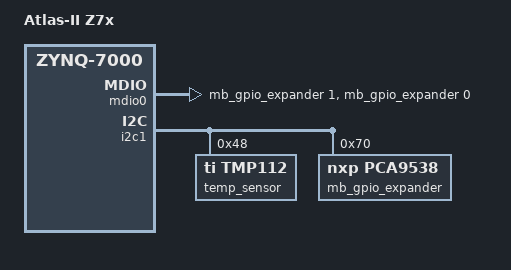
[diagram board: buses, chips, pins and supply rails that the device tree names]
#include <atlas-z7-inc.dtsi>
#include <dt-bindings/gpio/gpio.h>

/ {
    model = "Atlas-II Z7x";
    compatible = "iveia,atlas-ii-z7x", "iveia,atlas-z7", "xlnx,zynq-7000";

    aliases {
        mdio-gpio0 = &mdio0;
    };

    mdio0: ethernet-phy {
        compatible = "virtual,mdio-gpio";
        gpios = <&mb_gpio_expander 1 GPIO_ACTIVE_HIGH>, /* MDC */
            <&mb_gpio_expander 0 GPIO_ACTIVE_HIGH>; /* MDIO */
        #address-cells = <1>;
        #size-cells = <0>;
    };
};

&gem0 {
    status = "disabled";
};

&gem1 {
    status = "disabled";
};

&i2c1 {
    status = "okay";

	temp_sensor: temp_sensor@48 {
		compatible = "ti,tmp112";
        reg = <0x48>;
        // temp_alert routed through pl, thus not enabled here                  
    };

    mb_gpio_expander: gpio_expander@70 {
        compatible = "nxp,pca9538";
        reg = <0x70>;
        gpio-controller;
        #gpio-cells = <2>;
    };
};

&iv_ipmi_mb {
    wp {
        i2c_gpio = <1 0x70 6 1>;
    };
};

